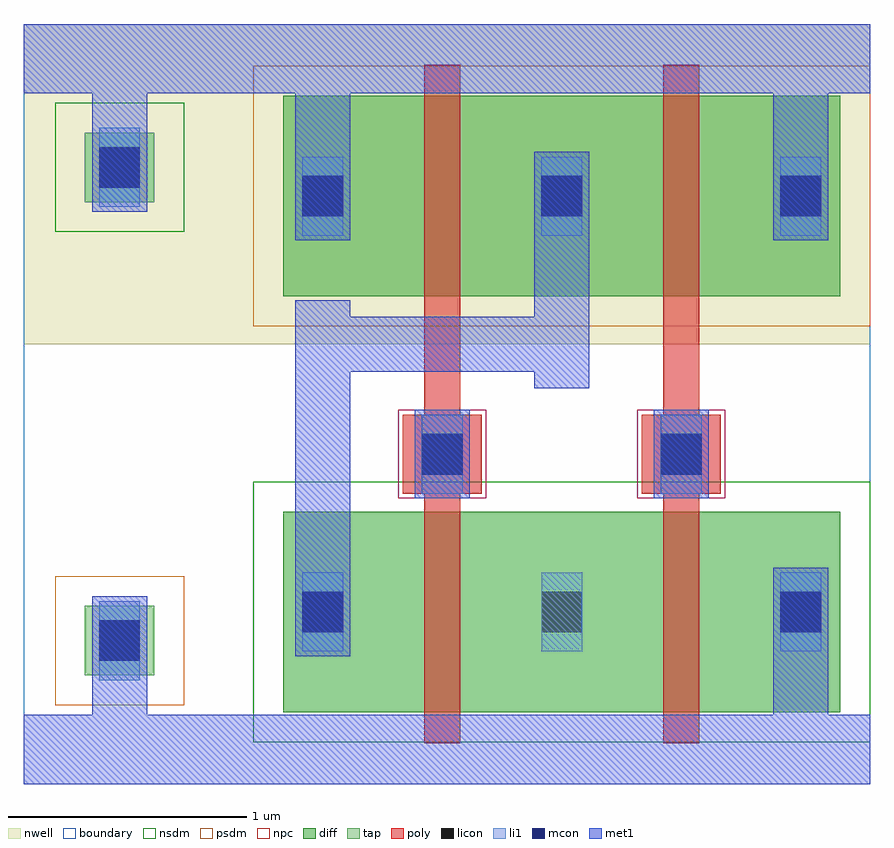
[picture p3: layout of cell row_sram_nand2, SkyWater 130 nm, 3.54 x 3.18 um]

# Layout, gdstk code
import gdstk
lib = gdstk.Library(unit=1e-6, precision=1e-09)
def R(c, l, rs):  # rectangles x0, y0, x1, y1
    for r in rs: c.add(gdstk.rectangle(r[:2], r[2:], *l))
def A(c, l, x, y, w, h, nx, ny, dx, dy):  # array of equal rectangles
    R(c, l, [(x+i*dx, y+j*dy, x+i*dx+w, y+j*dy+h) for i in range(nx) for j in range(ny)])
nwell = (64, 20)
diff = (65, 20)
tap = (65, 44)
poly = (66, 20)
licon = (66, 44)
li1 = (67, 20)
mcon = (67, 44)
met1 = (68, 20)
nsdm = (93, 44)
psdm = (94, 20)
npc = (95, 20)
boundary = (235, 4)

row_sram_nand2 = lib.new_cell('row_sram_nand2')
R(row_sram_nand2, nwell, [(0,1.84,3.54,3.18)])
R(row_sram_nand2, diff, [(1.085,0.3,3.415,1.14), (1.085,2.04,3.415,2.88)])
R(row_sram_nand2, tap, [(0.255,0.455,0.545,0.745), (0.255,2.435,0.545,2.725)])
R(row_sram_nand2, poly, [(1.675,0.17,1.825,3.01), (2.675,0.17,2.825,3.01), (1.585,1.215,1.915,1.545), (2.585,1.215,2.915,1.545)])
A(row_sram_nand2, licon, 1.165, 0.635, 0.17, 0.17, 3, 2, 1, 1.74)
R(row_sram_nand2, licon, [(0.315,0.515,0.485,0.685), (1.665,1.295,1.835,1.465), (2.665,1.295,2.835,1.465), (0.315,2.495,0.485,2.665)])
A(row_sram_nand2, li1, 1.165, 0.555, 0.17, 0.33, 3, 2, 1, 1.74)
R(row_sram_nand2, li1, [(0.315,0.435,0.485,0.765), (1.665,1.215,1.835,1.545), (2.665,1.215,2.835,1.545), (0.315,2.415,0.485,2.745)])
A(row_sram_nand2, mcon, 1.165, 2.375, 0.17, 0.17, 3, 1, 1, 0)
R(row_sram_nand2, mcon, [(0.315,0.515,0.485,0.685), (1.165,0.635,1.335,0.805), (3.165,0.635,3.335,0.805), (1.665,1.295,1.835,1.465), (2.665,1.295,2.835,1.465), (0.315,2.495,0.485,2.665)])
R(row_sram_nand2, met1, [(0,0,3.54,0.29), (0.285,0.145,0.515,0.6), (3.135,0.145,3.365,0.905), (0.285,0.415,0.515,0.785), (1.135,0.535,1.365,2.025), (1.635,1.195,1.865,1.565), (2.635,1.195,2.865,1.565), (2.135,1.655,2.365,2.645), (1.135,1.725,2.365,1.955), (1.135,2.275,1.365,3.035), (3.135,2.275,3.365,3.035), (0.285,2.395,0.515,2.765), (0.285,2.58,0.515,3.035), (0,2.89,3.54,3.18)])
R(row_sram_nand2, nsdm, [(0.96,0.175,3.54,1.265), (0.13,2.31,0.67,2.85)])
R(row_sram_nand2, psdm, [(0.13,0.33,0.67,0.87), (0.96,1.915,3.54,3.005)])
R(row_sram_nand2, npc, [(1.565,1.195,1.935,1.565), (2.565,1.195,2.935,1.565)])
R(row_sram_nand2, boundary, [(0,0,3.54,3.18)])

lib.write_gds('row_sram_nand2.gds')
